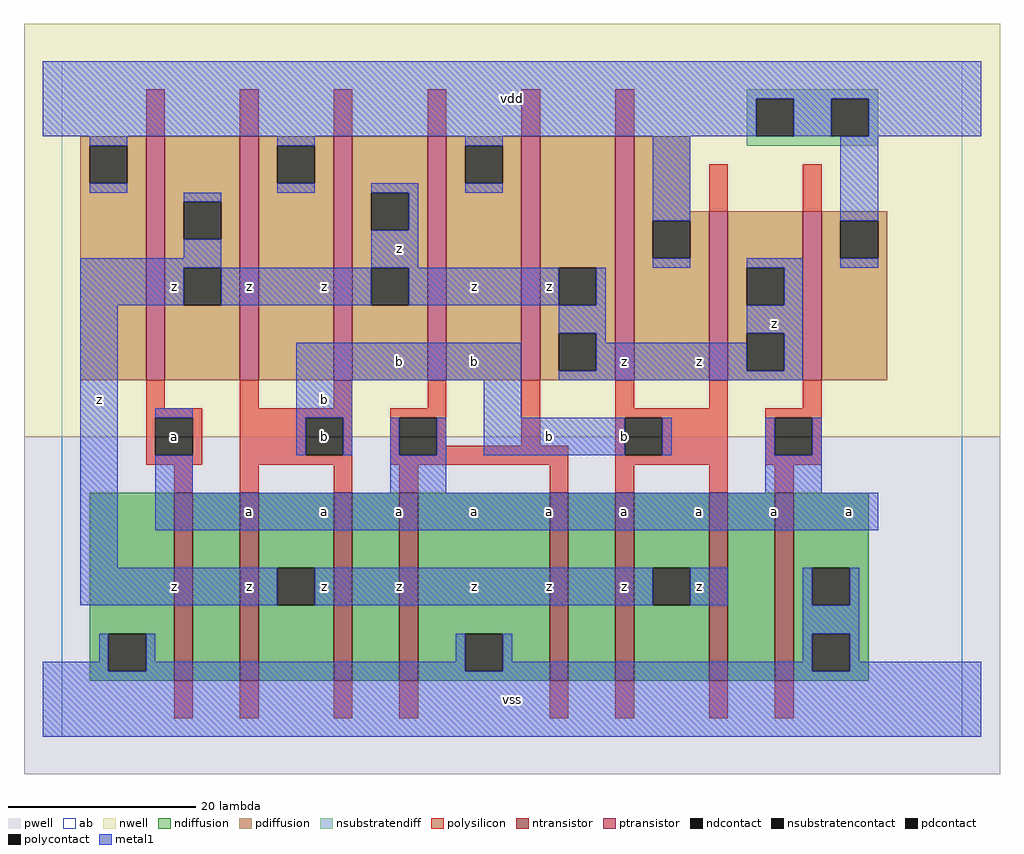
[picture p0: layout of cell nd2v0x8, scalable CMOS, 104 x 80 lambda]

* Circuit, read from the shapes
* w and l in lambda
.subckt nd2v0x8 a b vdd vss z
M1 n1 a vss VSUBS nfet w=20 l=2
M2 z b n1 VSUBS nfet w=20 l=2
M3 n2 b z VSUBS nfet w=20 l=2
M4 vss a n2 VSUBS nfet w=20 l=2
M5 n3 a vss VSUBS nfet w=20 l=2
M6 z b n3 VSUBS nfet w=20 l=2
M7 n4 b z VSUBS nfet w=20 l=2
M8 vss a n4 VSUBS nfet w=20 l=2
M9 z a vdd vdd pfet w=26 l=2 m=3
M10 vdd b z vdd pfet w=26 l=2 m=3
M11 z b vdd vdd pfet w=18 l=2
M12 vdd a z vdd pfet w=18 l=2
.ends

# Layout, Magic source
magic
tech scmos
<< ab >>
rect 0 0 96 72
<< pwell >>
rect -4 -4 100 32
<< nwell >>
rect -4 32 100 76
<< polysilicon >>
rect 9 64 11 69
rect 19 64 21 69
rect 29 64 31 69
rect 39 64 41 69
rect 49 64 51 69
rect 59 64 61 69
rect 69 56 71 61
rect 79 56 81 61
rect 9 35 11 38
rect 19 35 21 38
rect 29 35 31 38
rect 39 35 41 38
rect 9 34 15 35
rect 9 30 10 34
rect 14 30 15 34
rect 9 29 15 30
rect 19 34 31 35
rect 19 30 26 34
rect 30 30 31 34
rect 19 29 31 30
rect 35 34 41 35
rect 35 30 36 34
rect 40 31 41 34
rect 49 31 51 38
rect 59 35 61 38
rect 69 35 71 38
rect 79 35 81 38
rect 59 34 71 35
rect 40 30 54 31
rect 35 29 54 30
rect 12 26 14 29
rect 19 26 21 29
rect 29 26 31 29
rect 36 26 38 29
rect 52 26 54 29
rect 59 30 60 34
rect 64 30 71 34
rect 59 29 71 30
rect 75 34 81 35
rect 75 30 76 34
rect 80 30 81 34
rect 75 29 81 30
rect 59 26 61 29
rect 69 26 71 29
rect 76 26 78 29
rect 12 2 14 6
rect 19 2 21 6
rect 29 2 31 6
rect 36 2 38 6
rect 52 2 54 6
rect 59 2 61 6
rect 69 2 71 6
rect 76 2 78 6
<< ndiffusion >>
rect 3 11 12 26
rect 3 7 5 11
rect 9 7 12 11
rect 3 6 12 7
rect 14 6 19 26
rect 21 18 29 26
rect 21 14 23 18
rect 27 14 29 18
rect 21 6 29 14
rect 31 6 36 26
rect 38 11 52 26
rect 38 7 43 11
rect 47 7 52 11
rect 38 6 52 7
rect 54 6 59 26
rect 61 18 69 26
rect 61 14 63 18
rect 67 14 69 18
rect 61 6 69 14
rect 71 6 76 26
rect 78 18 86 26
rect 78 14 80 18
rect 84 14 86 18
rect 78 11 86 14
rect 78 7 80 11
rect 84 7 86 11
rect 78 6 86 7
<< pdiffusion >>
rect 2 63 9 64
rect 2 59 3 63
rect 7 59 9 63
rect 2 38 9 59
rect 11 57 19 64
rect 11 53 13 57
rect 17 53 19 57
rect 11 50 19 53
rect 11 46 13 50
rect 17 46 19 50
rect 11 38 19 46
rect 21 63 29 64
rect 21 59 23 63
rect 27 59 29 63
rect 21 38 29 59
rect 31 58 39 64
rect 31 54 33 58
rect 37 54 39 58
rect 31 50 39 54
rect 31 46 33 50
rect 37 46 39 50
rect 31 38 39 46
rect 41 63 49 64
rect 41 59 43 63
rect 47 59 49 63
rect 41 38 49 59
rect 51 50 59 64
rect 51 46 53 50
rect 57 46 59 50
rect 51 43 59 46
rect 51 39 53 43
rect 57 39 59 43
rect 51 38 59 39
rect 61 56 67 64
rect 61 55 69 56
rect 61 51 63 55
rect 67 51 69 55
rect 61 38 69 51
rect 71 50 79 56
rect 71 46 73 50
rect 77 46 79 50
rect 71 43 79 46
rect 71 39 73 43
rect 77 39 79 43
rect 71 38 79 39
rect 81 55 88 56
rect 81 51 83 55
rect 87 51 88 55
rect 81 38 88 51
<< metal1 >>
rect -2 68 98 72
rect -2 64 74 68
rect 78 64 82 68
rect 86 64 98 68
rect 3 63 7 64
rect 3 58 7 59
rect 23 63 27 64
rect 43 63 47 64
rect 23 58 27 59
rect 33 58 38 59
rect 43 58 47 59
rect 13 57 17 58
rect 13 51 17 53
rect 2 50 17 51
rect 37 54 38 58
rect 33 50 38 54
rect 63 55 67 64
rect 83 55 87 64
rect 63 50 67 51
rect 73 50 79 51
rect 83 50 87 51
rect 2 46 13 50
rect 17 46 33 50
rect 37 46 53 50
rect 57 46 58 50
rect 2 18 6 46
rect 53 43 58 46
rect 25 38 49 42
rect 57 42 58 43
rect 77 46 79 50
rect 73 43 79 46
rect 57 39 73 42
rect 77 39 79 43
rect 53 38 79 39
rect 10 34 14 35
rect 25 34 31 38
rect 45 34 49 38
rect 25 30 26 34
rect 30 30 31 34
rect 35 30 36 34
rect 40 30 41 34
rect 45 30 60 34
rect 64 30 65 34
rect 75 30 76 34
rect 80 30 81 34
rect 10 26 14 30
rect 35 26 41 30
rect 75 26 81 30
rect 10 22 87 26
rect 2 14 23 18
rect 27 14 63 18
rect 67 14 71 18
rect 79 14 80 18
rect 84 14 85 18
rect 79 11 85 14
rect 4 8 5 11
rect -2 7 5 8
rect 9 8 10 11
rect 42 8 43 11
rect 9 7 43 8
rect 47 8 48 11
rect 79 8 80 11
rect 47 7 80 8
rect 84 8 85 11
rect 84 7 98 8
rect -2 0 98 7
<< ntransistor >>
rect 12 6 14 26
rect 19 6 21 26
rect 29 6 31 26
rect 36 6 38 26
rect 52 6 54 26
rect 59 6 61 26
rect 69 6 71 26
rect 76 6 78 26
<< ptransistor >>
rect 9 38 11 64
rect 19 38 21 64
rect 29 38 31 64
rect 39 38 41 64
rect 49 38 51 64
rect 59 38 61 64
rect 69 38 71 56
rect 79 38 81 56
<< polycontact >>
rect 10 30 14 34
rect 26 30 30 34
rect 36 30 40 34
rect 60 30 64 34
rect 76 30 80 34
<< ndcontact >>
rect 5 7 9 11
rect 23 14 27 18
rect 43 7 47 11
rect 63 14 67 18
rect 80 14 84 18
rect 80 7 84 11
<< pdcontact >>
rect 3 59 7 63
rect 13 53 17 57
rect 13 46 17 50
rect 23 59 27 63
rect 33 54 37 58
rect 33 46 37 50
rect 43 59 47 63
rect 53 46 57 50
rect 53 39 57 43
rect 63 51 67 55
rect 73 46 77 50
rect 73 39 77 43
rect 83 51 87 55
<< nsubstratencontact >>
rect 74 64 78 68
rect 82 64 86 68
<< nsubstratendiff >>
rect 73 68 87 69
rect 73 64 74 68
rect 78 64 82 68
rect 86 64 87 68
rect 73 63 87 64
<< labels >>
rlabel metal1 12 16 12 16 6 z
rlabel polycontact 12 32 12 32 6 a
rlabel metal1 4 36 4 36 6 z
rlabel metal1 12 48 12 48 6 z
rlabel metal1 28 16 28 16 6 z
rlabel metal1 20 16 20 16 6 z
rlabel metal1 20 24 20 24 6 a
rlabel metal1 28 24 28 24 6 a
rlabel polycontact 28 32 28 32 6 b
rlabel metal1 28 36 28 36 6 b
rlabel metal1 20 48 20 48 6 z
rlabel metal1 28 48 28 48 6 z
rlabel metal1 48 4 48 4 6 vss
rlabel metal1 44 16 44 16 6 z
rlabel metal1 52 16 52 16 6 z
rlabel metal1 36 16 36 16 6 z
rlabel metal1 36 24 36 24 6 a
rlabel metal1 44 24 44 24 6 a
rlabel metal1 52 24 52 24 6 a
rlabel metal1 52 32 52 32 6 b
rlabel metal1 36 40 36 40 6 b
rlabel metal1 44 40 44 40 6 b
rlabel metal1 36 52 36 52 6 z
rlabel metal1 44 48 44 48 6 z
rlabel metal1 52 48 52 48 6 z
rlabel metal1 48 68 48 68 6 vdd
rlabel metal1 68 16 68 16 6 z
rlabel metal1 60 16 60 16 6 z
rlabel metal1 60 24 60 24 6 a
rlabel metal1 68 24 68 24 6 a
rlabel metal1 76 24 76 24 6 a
rlabel metal1 60 32 60 32 6 b
rlabel metal1 60 40 60 40 6 z
rlabel metal1 68 40 68 40 6 z
rlabel metal1 76 44 76 44 6 z
rlabel metal1 84 24 84 24 6 a
<< end >>
